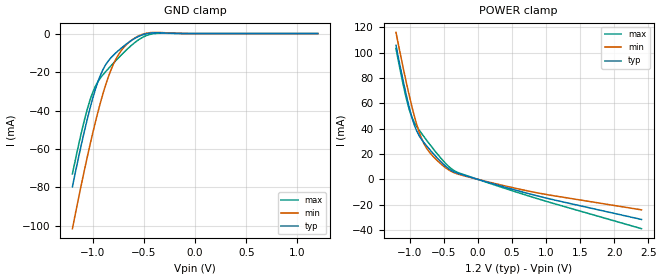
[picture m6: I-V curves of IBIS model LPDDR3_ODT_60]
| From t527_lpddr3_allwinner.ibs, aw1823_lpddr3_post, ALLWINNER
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|   Model LPDDR3_ODT_60
[Model] LPDDR3_ODT_60
Model_type Input
Polarity   Non-Inverting
Vinl =  0.600V
Vinh =  0.600V
C_comp   1.882pF   1.820pF   1.960pF
C_comp_pullup   1.160pF   1.148pF   1.161pF
C_comp_pulldown   0.600pF   0.484pF   0.766pF
[Model Spec]
Vinh   0.600V   0.570V   0.630V
Vinl   0.600V   0.570V   0.630V
[Temperature Range]   25.000   0.125k   -40.000
[Voltage Range]   1.200V   1.140V   1.260V
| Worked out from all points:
|   GND clamp passes 1 mA (typ) near -0.53 V on its own axis
|   POWER clamp passes 1 mA (typ) near -0.06 V on its own axis
[GND_clamp]
|Voltage   I(typ)   I(min)   I(max)
-1.2V     -79.59mA   -101.4mA   -72.94mA
-1.125V   -60.63mA   -81.63mA   -54.36mA
-1.05V    -43.41mA   -63mA      -38.42mA
-1V       -33.35mA   -51.4mA    -30.32mA
-925mV    -21.46mA   -35.67mA   -22.98mA
-850mV    -14.27mA   -22.7mA    -18.3mA
-775mV    -10mA      -13.27mA   -14.02mA
-700mV    -6.59mA    -7.312mA   -9.944mA
-625mV    -3.664mA   -3.564mA   -6.218mA
-500mV    -399.1uA   -129.2uA   -1.571mA
-375mV    414uA      613.1uA    119uA
1.2V      0A         0A         0A
[POWER_clamp]
|Voltage   I(typ)   I(min)   I(max)
-1.2V     105.7mA    115.9mA    103.1mA
-1.075V   72.76mA    82.98mA    69.91mA
-1V       55.51mA    64.87mA    54.09mA
-925mV    41.98mA    48.75mA    44.28mA
-850mV    33.53mA    35.69mA    38.12mA
-800mV    29.7mA     29.22mA    34.42mA
-725mV    24.74mA    22.53mA    29.04mA
-600mV    17.13mA    15.1mA     20.47mA
-450mV    9.34mA     8.296mA    11.35mA
-275mV    4.452mA    3.871mA    5.066mA
675mV     -10.25mA   -8.463mA   -11.89mA
2.4V      -31.63mA   -24.05mA   -38.88mA
